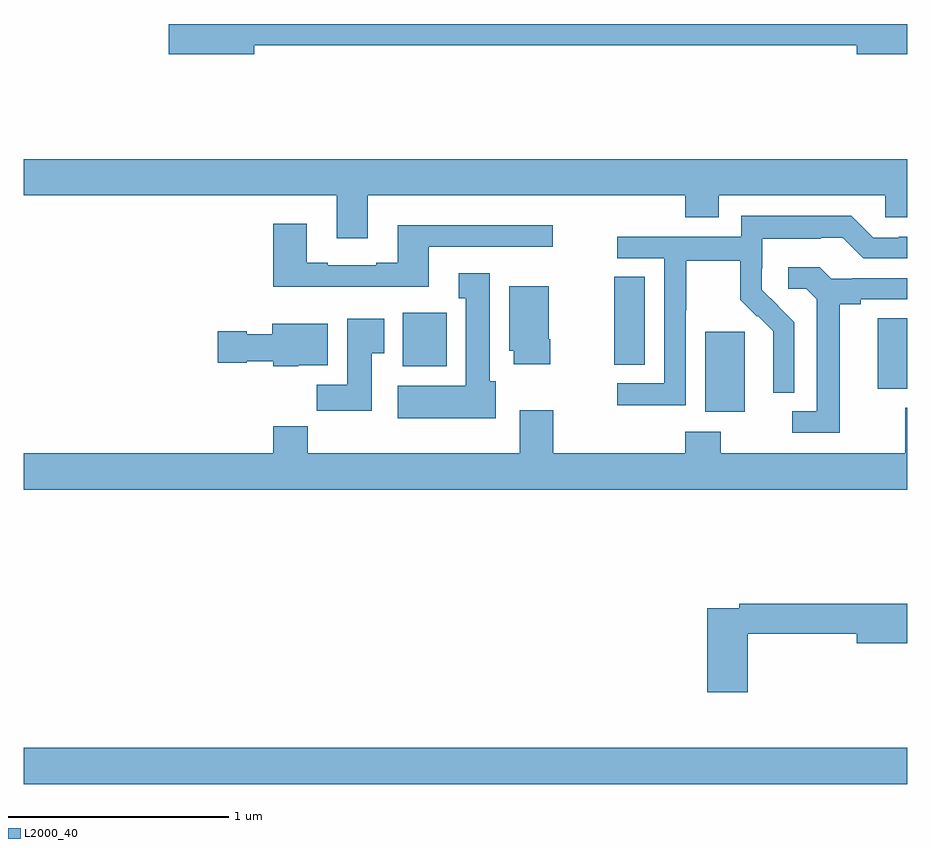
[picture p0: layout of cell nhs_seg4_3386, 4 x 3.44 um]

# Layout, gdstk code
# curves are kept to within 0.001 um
import gdstk
lib = gdstk.Library(unit=1e-6, precision=1e-09)
def R(c, l, rs):  # rectangles x0, y0, x1, y1
    for r in rs: c.add(gdstk.rectangle(r[:2], r[2:], *l))
def P(c, l, *ps):  # polygons
    for p in ps: c.add(gdstk.Polygon(p, *l))
L2000_40 = (2000, 40)

nhs_seg4_3386 = lib.new_cell('nhs_seg4_3386')
R(nhs_seg4_3386, L2000_40, [(289,823.46,293,823.624), (292.085,825.146,292.264,825.507), (292.865,825.249,293,825.569), (290.717,825.35,290.914,825.592), (291.673,825.358,291.811,825.755)])
P(nhs_seg4_3386, L2000_40, [(290.044,826.804),(292.772,826.804),(292.772,826.762),(293,826.762),(293,826.9),(289.656,826.9),(289.656,826.762),(290.044,826.762)],
  [(290.557,826.124),(291.995,826.124),(291.995,826.025),(292.147,826.025),(292.147,826.124),(292.899,826.124),(292.899,826.026),(293,826.026),(293,826.288),(289,826.288),(289,826.124),(290.417,826.124),(290.417,825.93),(290.557,825.93)],
  [(291.996,825.604),(291.999,825.604),(291.999,825.828),(292.243,825.828),(292.243,825.653),(292.32,825.576),(292.323,825.579),(292.394,825.509),(292.394,825.386),(292.392,825.386),(292.392,825.232),(292.488,825.232),(292.488,825.55),(292.342,825.698),(292.342,825.795),(292.344,825.795),(292.344,825.929),(292.607,825.929),(292.607,825.933),(292.707,825.933),(292.8,825.84),(293,825.84),(293,825.936),(292.961,825.936),(292.961,825.933),(292.845,825.933),(292.745,826.033),(292.248,826.033),(292.248,825.936),(291.687,825.936),(291.687,825.84),(291.9,825.84),(291.9,825.273),(291.687,825.273),(291.687,825.175),(291.996,825.175)],
  [(290.833,825.891),(291.394,825.891),(291.394,825.988),(290.693,825.988),(290.693,825.82),(290.597,825.82),(290.597,825.807),(290.377,825.807),(290.377,825.82),(290.281,825.82),(290.281,825.997),(290.129,825.997),(290.129,825.71),(290.833,825.71)],
  [(292.693,825.632),(292.789,825.632),(292.789,825.654),(293,825.654),(293,825.75),(292.75,825.75),(292.75,825.747),(292.656,825.747),(292.604,825.799),(292.461,825.799),(292.461,825.702),(292.542,825.702),(292.589,825.655),(292.589,825.147),(292.479,825.147),(292.479,825.051),(292.693,825.051)],
  [(291.136,825.282),(291.109,825.282),(291.109,825.772),(290.969,825.772),(290.969,825.659),(291.002,825.659),(291.002,825.262),(290.693,825.262),(290.693,825.116),(291.136,825.116)],
  [(291.384,825.472),(291.376,825.472),(291.376,825.712),(291.197,825.712),(291.197,825.42),(291.218,825.42),(291.218,825.36),(291.384,825.36)],
  [(290.575,825.409),(290.632,825.409),(290.632,825.565),(290.465,825.565),(290.465,825.268),(290.326,825.268),(290.326,825.15),(290.575,825.15)],
  [(290.244,825.356),(290.377,825.356),(290.377,825.544),(290.126,825.544),(290.126,825.496),(290.01,825.496),(290.01,825.509),(289.878,825.509),(289.878,825.367),(290.01,825.367),(290.01,825.374),(290.13,825.374),(290.13,825.35),(290.244,825.35)],
  [(293,825.164),(292.991,825.164),(292.991,824.956),(292.155,824.956),(292.155,825.055),(291.995,825.055),(291.995,824.956),(291.398,824.956),(291.398,825.151),(291.245,825.151),(291.245,824.956),(290.285,824.956),(290.285,825.08),(290.129,825.08),(290.129,824.956),(289,824.956),(289,824.792),(293,824.792)],
  [(292.277,824.14),(292.772,824.14),(292.772,824.098),(293,824.098),(293,824.276),(292.24,824.276),(292.24,824.256),(292.094,824.256),(292.094,823.875),(292.277,823.875)])

lib.write_gds('nhs_seg4_3386.gds')
